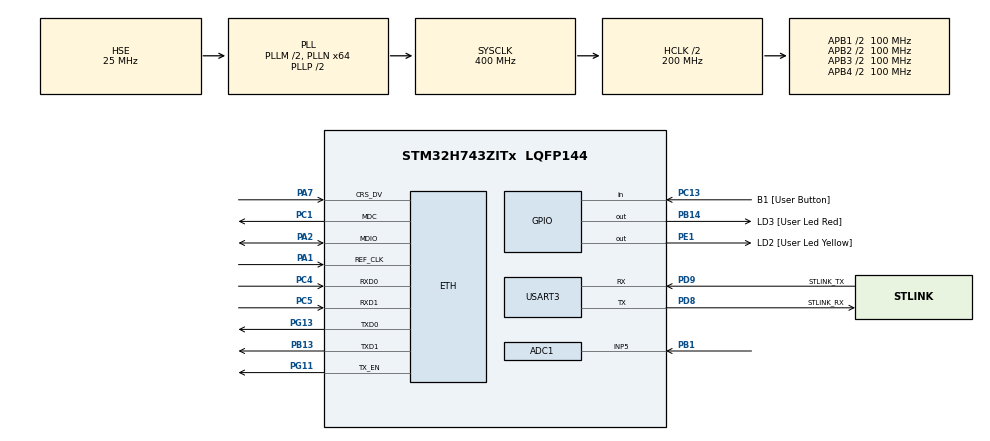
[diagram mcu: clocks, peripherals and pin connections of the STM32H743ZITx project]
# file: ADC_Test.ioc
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ADC1.AWD1HighThreshold=0xFFFF
ADC1.AWD2HighThreshold=0xFFFF
ADC1.AWDChannel-2\#ChannelRegularConversion=ADC_CHANNEL_5
ADC1.Channel-2\#ChannelRegularConversion=ADC_CHANNEL_5
ADC1.ClockPrescaler=ADC_CLOCK_ASYNC_DIV64
ADC1.ContinuousConvMode=DISABLE
ADC1.ConversionDataManagement=ADC_CONVERSIONDATA_DMA_CIRCULAR
ADC1.EOCSelection=ADC_EOC_SEQ_CONV
ADC1.EnableAnalogWatchDog1=true
ADC1.EnableAnalogWatchDog2=true
ADC1.ExternalTrigConv=ADC_EXTERNALTRIG_T3_TRGO
ADC1.MonitoredBy-2\#ChannelRegularConversion=ADC_ANALOGWATCHDOG_2
ADC1.NbrOfConversionFlag=1
ADC1.Offset-2\#ChannelRegularConversion=0x7fff
ADC1.OffsetNumber-2\#ChannelRegularConversion=ADC_OFFSET_1
ADC1.OffsetSignedSaturation-2\#ChannelRegularConversion=ENABLE
ADC1.Overrun=ADC_OVR_DATA_OVERWRITTEN
ADC1.Rank-2\#ChannelRegularConversion=1
ADC1.SamplingTime-2\#ChannelRegularConversion=ADC_SAMPLETIME_1CYCLE_5
ADC1.WDG2ChannelR1=ADC_CHANNEL_5
ADC1.WatchdogChannel=ADC_CHANNEL_5
ADC1.master=1
CORTEX_M7.AccessPermission_S-Cortex_Memory_Protection_Unit_Region1_Settings_S=MPU_REGION_FULL_ACCESS
CORTEX_M7.AccessPermission_S-Cortex_Memory_Protection_Unit_Region2_Settings_S=MPU_REGION_FULL_ACCESS
CORTEX_M7.AccessPermission_S-Cortex_Memory_Protection_Unit_Region3_Settings_S=MPU_REGION_FULL_ACCESS
CORTEX_M7.AccessPermission_Spec=MPU_REGION_NO_ACCESS
CORTEX_M7.BaseAddress_S-Cortex_Memory_Protection_Unit_Region1_Settings_S=0x30000000
CORTEX_M7.BaseAddress_S-Cortex_Memory_Protection_Unit_Region2_Settings_S=0x30020000
CORTEX_M7.BaseAddress_S-Cortex_Memory_Protection_Unit_Region3_Settings_S=0x30040000
CORTEX_M7.BaseAddress_Spec=0x30000000
CORTEX_M7.CPU_DCache=Enabled
CORTEX_M7.CPU_ICache=Enabled
CORTEX_M7.DisableExec_S-Cortex_Memory_Protection_Unit_Region2_Settings_S=MPU_INSTRUCTION_ACCESS_DISABLE
CORTEX_M7.DisableExec_S-Cortex_Memory_Protection_Unit_Region3_Settings_S=MPU_INSTRUCTION_ACCESS_DISABLE
CORTEX_M7.DisableExec_Spec=MPU_INSTRUCTION_ACCESS_DISABLE
CORTEX_M7.Enable_S-Cortex_Memory_Protection_Unit_Region1_Settings_S=MPU_REGION_ENABLE
CORTEX_M7.Enable_S-Cortex_Memory_Protection_Unit_Region2_Settings_S=MPU_REGION_ENABLE
CORTEX_M7.Enable_S-Cortex_Memory_Protection_Unit_Region3_Settings_S=MPU_REGION_ENABLE
CORTEX_M7.Enable_Spec=__NULL
CORTEX_M7.IsBufferable_S-Cortex_Memory_Protection_Unit_Region1_Settings_S=MPU_ACCESS_NOT_BUFFERABLE
CORTEX_M7.IsBufferable_S-Cortex_Memory_Protection_Unit_Region3_Settings_S=MPU_ACCESS_BUFFERABLE
CORTEX_M7.IsBufferable_Spec=MPU_ACCESS_NOT_BUFFERABLE
CORTEX_M7.IsShareable_S-Cortex_Memory_Protection_Unit_Region1_Settings_S=MPU_ACCESS_SHAREABLE
CORTEX_M7.IsShareable_S-Cortex_Memory_Protection_Unit_Region3_Settings_S=MPU_ACCESS_SHAREABLE
CORTEX_M7.IsShareable_Spec=MPU_ACCESS_SHAREABLE
CORTEX_M7.Size_S-Cortex_Memory_Protection_Unit_Region1_Settings_S=MPU_REGION_SIZE_128KB
CORTEX_M7.Size_S-Cortex_Memory_Protection_Unit_Region2_Settings_S=MPU_REGION_SIZE_128KB
CORTEX_M7.Size_S-Cortex_Memory_Protection_Unit_Region3_Settings_S=MPU_REGION_SIZE_512B
CORTEX_M7.Size_Spec=MPU_REGION_SIZE_4GB
CORTEX_M7.SubRegionDisable_Spec=0x00
CORTEX_M7.TypeExtField_S-Cortex_Memory_Protection_Unit_Region1_Settings_S=MPU_TEX_LEVEL1
CORTEX_M7.TypeExtField_S-Cortex_Memory_Protection_Unit_Region2_Settings_S=MPU_TEX_LEVEL1
CORTEX_M7.TypeExtField_Spec=MPU_TEX_LEVEL0
CORTEX_M7.default_mode_Activation=1
Dma.ADC1.0.Direction=DMA_PERIPH_TO_MEMORY
Dma.ADC1.0.EventEnable=DISABLE
Dma.ADC1.0.FIFOMode=DMA_FIFOMODE_DISABLE
Dma.ADC1.0.Instance=DMA1_Stream0
Dma.ADC1.0.MemDataAlignment=DMA_MDATAALIGN_HALFWORD
Dma.ADC1.0.MemInc=DMA_MINC_ENABLE
Dma.ADC1.0.Mode=DMA_CIRCULAR
Dma.ADC1.0.PeriphDataAlignment=DMA_PDATAALIGN_HALFWORD
Dma.ADC1.0.PeriphInc=DMA_PINC_DISABLE
Dma.ADC1.0.Polarity=HAL_DMAMUX_REQ_GEN_RISING
Dma.ADC1.0.Priority=DMA_PRIORITY_VERY_HIGH
Dma.ADC1.0.RequestNumber=1
Dma.ADC1.0.SignalID=NONE
Dma.ADC1.0.SyncEnable=DISABLE
Dma.ADC1.0.SyncPolarity=HAL_DMAMUX_SYNC_NO_EVENT
Dma.ADC1.0.SyncRequestNumber=1
Dma.ADC1.0.SyncSignalID=NONE
Dma.Request0=ADC1
ETH.MediaInterface=HAL_ETH_RMII_MODE
FREERTOS.BinarySemaphores01=xDataReadySemaphore,Dynamic,NULL,Depleted
FREERTOS.Tasks01=vCommandTask,24,512,StartDefaultTask,Default,NULL,Dynamic,NULL,NULL;vTransmitTask,40,1024,StartTask02,Default,NULL,Dynamic,NULL,NULL
LWIP.BSP.number=1
LWIP.IP_ADDRESS=192.168.001.005
LWIP.LWIP_DHCP=0
LWIP.LWIP_RAM_HEAP_POINTER=0x30020000
LWIP.MEM_SIZE=128000
LWIP.NETMASK_ADDRESS=255.255.255.000
LWIP.Version=v2.1.2_Cube
LWIP0.BSP.STBoard=false
LWIP0.BSP.api=BSP_COMPONENT_DRIVER
LWIP0.BSP.component=LAN8742
LWIP0.BSP.instance=LAN8742
LWIP0.BSP.name=Driver_PHY
LWIP0.BSP.semaphore=S_LAN8742
LWIP0.BSP.solution=LAN8742
Mcu.Family=STM32H7
Mcu.Name=STM32H743ZITx
Mcu.Package=LQFP144
NVIC.ADC_IRQn=true\:5\:0\:false\:false\:true\:true\:true\:true\:true
NVIC.DMA1_Stream0_IRQn=true\:5\:0\:false\:false\:true\:true\:false\:true\:true
NVIC.ETH_IRQn=true\:5\:0\:false\:false\:true\:true\:true\:true\:true
NVIC.PriorityGroup=NVIC_PRIORITYGROUP_4
NVIC.TIM4_IRQn=true\:5\:0\:false\:false\:true\:true\:true\:true\:true
NVIC.TIM6_DAC_IRQn=true\:15\:0\:false\:false\:true\:false\:false\:true\:true
NVIC.TimeBase=TIM6_DAC_IRQn
NVIC.TimeBaseIP=TIM6
PA1.GPIO_Speed=GPIO_SPEED_FREQ_VERY_HIGH
PA1.Mode=RMII
PA1.Signal=ETH_REF_CLK
PA13\ (JTMS/SWDIO).GPIO_Label=JTMS
PA13\ (JTMS/SWDIO).Signal=DEBUG_JTMS-SWDIO
PA14\ (JTCK/SWCLK).GPIO_Label=JTCK
PA14\ (JTCK/SWCLK).Signal=DEBUG_JTCK-SWCLK
PA2.GPIO_Speed=GPIO_SPEED_FREQ_VERY_HIGH
PA2.Mode=RMII
PA2.Signal=ETH_MDIO
PA7.GPIO_Speed=GPIO_SPEED_FREQ_VERY_HIGH
PA7.Mode=RMII
PA7.Signal=ETH_CRS_DV
PB1.Signal=ADCx_INP5
PB13.GPIO_Speed=GPIO_SPEED_FREQ_VERY_HIGH
PB13.Mode=RMII
PB13.Signal=ETH_TXD1
PB14.GPIO_Label=LD3 [User Led Red]
PB14.Signal=GPIO_Output
PC1.GPIO_Speed=GPIO_SPEED_FREQ_VERY_HIGH
PC1.Mode=RMII
PC1.Signal=ETH_MDC
PC13.GPIO_Label=B1 [User Button]
PC13.Signal=GPIO_Input
PC14-OSC32_IN\ (OSC32_IN).Signal=RCC_OSC32_IN
PC15-OSC32_OUT\ (OSC32_OUT).Signal=RCC_OSC32_OUT
PC4.GPIO_Speed=GPIO_SPEED_FREQ_VERY_HIGH
PC4.Mode=RMII
PC4.Signal=ETH_RXD0
PC5.GPIO_Speed=GPIO_SPEED_FREQ_VERY_HIGH
PC5.Mode=RMII
PC5.Signal=ETH_RXD1
PD8.GPIO_Label=STLINK_RX
PD8.Mode=Asynchronous
PD8.Signal=USART3_TX
PD9.GPIO_Label=STLINK_TX
PD9.Mode=Asynchronous
PD9.Signal=USART3_RX
PE1.GPIO_Label=LD2 [User Led Yellow]
PE1.Signal=GPIO_Output
PG11.GPIO_Speed=GPIO_SPEED_FREQ_VERY_HIGH
PG11.Mode=RMII
PG11.Signal=ETH_TX_EN
PG13.GPIO_Speed=GPIO_SPEED_FREQ_VERY_HIGH
PG13.Mode=RMII
PG13.Signal=ETH_TXD0
PH0-OSC_IN\ (PH0).Mode=HSE-External-Clock-Source
PH0-OSC_IN\ (PH0).Signal=RCC_OSC_IN
PH1-OSC_OUT\ (PH1).Signal=RCC_OSC_OUT
ProjectManager.HeapSize=0x200
ProjectManager.StackSize=0x400
ProjectManager.TargetToolchain=CMake
RCC.ADCFreq_Value=75000000
RCC.APB1Freq_Value=100000000
RCC.APB2Freq_Value=100000000
RCC.APB3Freq_Value=100000000
RCC.APB4Freq_Value=100000000
RCC.CortexFreq_Value=400000000
RCC.D1PPRE=RCC_APB3_DIV2
RCC.D2PPRE1=RCC_APB1_DIV2
RCC.D2PPRE2=RCC_APB2_DIV2
RCC.D3PPRE=RCC_APB4_DIV2
RCC.DIVM1=2
RCC.DIVM2=2
RCC.DIVM3=4
RCC.DIVN1=64
RCC.DIVN2=12
RCC.DIVN3=9
RCC.HCLKFreq_Value=200000000
RCC.HPRE=RCC_HCLK_DIV2
RCC.PLL2FRACN=0
RCC.PLL3FRACN=0
RCC.PLLFRACN=0
RCC.PLLSourceVirtual=RCC_PLLSOURCE_HSE
RCC.SYSCLKFreq_VALUE=400000000
RCC.SYSCLKSource=RCC_SYSCLKSOURCE_PLLCLK
RCC.USART234578CLockSelection=RCC_USART234578CLKSOURCE_CSI
RCC.USBFreq_Value=400000000
SH.ADCx_INP5.0=ADC1_INP5,IN5-Single-Ended
TIM3.Period=10
TIM3.TIM_MasterOutputTrigger=TIM_TRGO_UPDATE
TIM3.TIM_MasterSlaveMode=TIM_MASTERSLAVEMODE_ENABLE
TIM4.Period=1000
USART3.VirtualMode-Asynchronous=VM_ASYNC
VP_FREERTOS_VS_CMSIS_V2.Mode=CMSIS_V2
VP_LWIP_VS_Enabled.Mode=Enabled
VP_MEMORYMAP_VS_MEMORYMAP.Mode=CurAppReg
VP_SYS_VS_tim6.Mode=TIM6
VP_TIM3_VS_ClockSourceINT.Mode=Internal
VP_TIM4_VS_ClockSourceITR.Mode=TriggerSource_ITR2
VP_TIM4_VS_ControllerModeClock.Mode=Clock Mode
VP_TIM4_VS_OPM.Mode=OPM_bit
board=NUCLEO-H743ZI2

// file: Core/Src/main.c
/* USER CODE BEGIN Header */
/**
 ******************************************************************************
 * @file           : main.c
 * @brief          : Main program body
 ******************************************************************************
 * @attention
 *
 * Copyright (c) 2025 STMicroelectronics.
 * All rights reserved.
 *
 * This software is licensed under terms that can be found in the LICENSE file
 * in the root directory of this software component.
 * If no LICENSE file comes with this software, it is provided AS-IS.
 *
 ******************************************************************************
 */
/* USER CODE END Header */
#include "main.h"
#include "cmsis_os.h"
#include "adc.h"
#include "dma.h"
#include "lwip.h"
#include "tim.h"
#include "usart.h"
#include "gpio.h"

/* USER CODE BEGIN Includes */
#include "app_main.h"
/* USER CODE END Includes */

/* USER CODE BEGIN PTD */
extern osSemaphoreId_t xDataReadySemaphoreHandle;
/* USER CODE END PTD */

/* USER CODE BEGIN PD */
#define PUTCHAR_PROTOTYPE int __io_putchar(int ch)
#define GETCHAR_PROTOTYPE int __io_getchar(void)
/* USER CODE END PD */

void SystemClock_Config(void);
static void MPU_Config(void);
void MX_FREERTOS_Init(void);

int main(void)
{

  /* MPU Configuration--------------------------------------------------------*/
  MPU_Config();

  /* Enable the CPU Cache */

  /* Enable I-Cache---------------------------------------------------------*/
  SCB_EnableICache();

  /* Enable D-Cache---------------------------------------------------------*/
  SCB_EnableDCache();

  /* MCU Configuration--------------------------------------------------------*/

  /* Reset of all peripherals, Initializes the Flash interface and the Systick. */
  HAL_Init();

  /* Configure the system clock */
  SystemClock_Config();

  /* Initialize all configured peripherals */
  MX_GPIO_Init();
  MX_DMA_Init();
  MX_USART3_UART_Init();
  MX_ADC1_Init();
  MX_TIM3_Init();
  MX_TIM4_Init();
  /* USER CODE BEGIN 2 */
  App_Init();
  // setvbuf(stdin, NULL, _IONBF, 0); //disable buffering for input stream
  /* USER CODE END 2 */

  /* Init scheduler */
  osKernelInitialize();  /* Call init function for freertos objects (in cmsis_os2.c) */
  MX_FREERTOS_Init();

  /* Start scheduler */
  osKernelStart();

  /* We should never get here as control is now taken by the scheduler */

  /* Infinite loop */
  while (1)
  {

    /* USER CODE BEGIN 3 */

    //    printf("Waiting for valid command...\n");
  }

  /* USER CODE END 3 */
}

void SystemClock_Config(void)
{
  RCC_OscInitTypeDef RCC_OscInitStruct = {0};
  RCC_ClkInitTypeDef RCC_ClkInitStruct = {0};

  /** Supply configuration update enable
  */
  HAL_PWREx_ConfigSupply(PWR_LDO_SUPPLY);

  /** Configure the main internal regulator output voltage
  */
  __HAL_PWR_VOLTAGESCALING_CONFIG(PWR_REGULATOR_VOLTAGE_SCALE1);

  while(!__HAL_PWR_GET_FLAG(PWR_FLAG_VOSRDY)) {}

  /** Initializes the RCC Oscillators according to the specified parameters
  * in the RCC_OscInitTypeDef structure.
  */
  RCC_OscInitStruct.OscillatorType = RCC_OSCILLATORTYPE_CSI|RCC_OSCILLATORTYPE_HSE;
  RCC_OscInitStruct.HSEState = RCC_HSE_BYPASS;
  RCC_OscInitStruct.CSIState = RCC_CSI_ON;
  RCC_OscInitStruct.CSICalibrationValue = RCC_CSICALIBRATION_DEFAULT;
  RCC_OscInitStruct.PLL.PLLState = RCC_PLL_ON;
  RCC_OscInitStruct.PLL.PLLSource = RCC_PLLSOURCE_HSE;
  RCC_OscInitStruct.PLL.PLLM = 2;
  RCC_OscInitStruct.PLL.PLLN = 64;
  RCC_OscInitStruct.PLL.PLLP = 2;
  RCC_OscInitStruct.PLL.PLLQ = 2;
  RCC_OscInitStruct.PLL.PLLR = 2;
  RCC_OscInitStruct.PLL.PLLRGE = RCC_PLL1VCIRANGE_3;
  RCC_OscInitStruct.PLL.PLLVCOSEL = RCC_PLL1VCOWIDE;
  RCC_OscInitStruct.PLL.PLLFRACN = 0;
  if (HAL_RCC_OscConfig(&RCC_OscInitStruct) != HAL_OK)
  {
    Error_Handler();
  }

  /** Initializes the CPU, AHB and APB buses clocks
  */
  RCC_ClkInitStruct.ClockType = RCC_CLOCKTYPE_HCLK|RCC_CLOCKTYPE_SYSCLK
                              |RCC_CLOCKTYPE_PCLK1|RCC_CLOCKTYPE_PCLK2
                              |RCC_CLOCKTYPE_D3PCLK1|RCC_CLOCKTYPE_D1PCLK1;
  RCC_ClkInitStruct.SYSCLKSource = RCC_SYSCLKSOURCE_PLLCLK;
  RCC_ClkInitStruct.SYSCLKDivider = RCC_SYSCLK_DIV1;
  RCC_ClkInitStruct.AHBCLKDivider = RCC_HCLK_DIV2;
  RCC_ClkInitStruct.APB3CLKDivider = RCC_APB3_DIV2;
  RCC_ClkInitStruct.APB1CLKDivider = RCC_APB1_DIV2;
  RCC_ClkInitStruct.APB2CLKDivider = RCC_APB2_DIV2;
  RCC_ClkInitStruct.APB4CLKDivider = RCC_APB4_DIV2;

  if (HAL_RCC_ClockConfig(&RCC_ClkInitStruct, FLASH_LATENCY_2) != HAL_OK)
  {
    Error_Handler();
  }
}

/* USER CODE BEGIN 4 */
PUTCHAR_PROTOTYPE
{
  /* Place your implementation of fputc here */
  /* e.g. write a character to the USART1 and Loop until the end of transmission */
  HAL_UART_Transmit(&huart3, (uint8_t *)&ch, 1, 0xFFFF);

  return ch;
}

GETCHAR_PROTOTYPE
{
  uint8_t ch = 0;
  __HAL_UART_CLEAR_OREFLAG(&huart3);
  HAL_UART_Receive(&huart3, (uint8_t *)&ch, 1, HAL_MAX_DELAY);
  HAL_UART_Transmit(&huart3, (uint8_t *)&ch, 1, HAL_MAX_DELAY); // echo output for console
  return ch;
}

/* USER CODE END 4 */

 /* MPU Configuration */

void MPU_Config(void)
{
  MPU_Region_InitTypeDef MPU_InitStruct = {0};

  /* Disables the MPU */
  HAL_MPU_Disable();

  /** Initializes and configures the Region and the memory to be protected
  */
  MPU_InitStruct.Enable = MPU_REGION_ENABLE;
  MPU_InitStruct.BaseAddress = 0x30000000;
  MPU_InitStruct.Size = MPU_REGION_SIZE_128KB;
  MPU_InitStruct.SubRegionDisable = 0x0;
  MPU_InitStruct.TypeExtField = MPU_TEX_LEVEL1;
  MPU_InitStruct.AccessPermission = MPU_REGION_FULL_ACCESS;
  MPU_InitStruct.DisableExec = MPU_INSTRUCTION_ACCESS_ENABLE;
  MPU_InitStruct.IsShareable = MPU_ACCESS_SHAREABLE;
  MPU_InitStruct.IsCacheable = MPU_ACCESS_NOT_CACHEABLE;
  MPU_InitStruct.IsBufferable = MPU_ACCESS_NOT_BUFFERABLE;

  HAL_MPU_ConfigRegion(&MPU_InitStruct);

  /** Initializes and configures the Region and the memory to be protected
  */
  MPU_InitStruct.BaseAddress = 0x30020000;
  MPU_InitStruct.DisableExec = MPU_INSTRUCTION_ACCESS_DISABLE;
  MPU_InitStruct.IsShareable = MPU_ACCESS_NOT_SHAREABLE;

  HAL_MPU_ConfigRegion(&MPU_InitStruct);

  /** Initializes and configures the Region and the memory to be protected
  */
  MPU_InitStruct.BaseAddress = 0x30040000;
  MPU_InitStruct.Size = MPU_REGION_SIZE_512B;
  MPU_InitStruct.TypeExtField = MPU_TEX_LEVEL0;
  MPU_InitStruct.IsShareable = MPU_ACCESS_SHAREABLE;
  MPU_InitStruct.IsBufferable = MPU_ACCESS_BUFFERABLE;

  HAL_MPU_ConfigRegion(&MPU_InitStruct);
  /* Enables the MPU */
  HAL_MPU_Enable(MPU_PRIVILEGED_DEFAULT);

}

void HAL_TIM_PeriodElapsedCallback(TIM_HandleTypeDef *htim)
{
  if (htim->Instance == TIM6)
  {
    HAL_IncTick();
  }
  /* USER CODE BEGIN Callback 1 */
  if (htim->Instance == TIM4)
  {
      HAL_TIM_Base_Stop(&htim3);
      HAL_ADC_Stop_DMA(&hadc1);
      HAL_TIM_Base_Stop_IT(&htim4);

      // Wake up the Transmit Task!
      osSemaphoreRelease(xDataReadySemaphoreHandle);
  }
  /* USER CODE END Callback 1 */
}

void Error_Handler(void)
{
  __disable_irq();
  while (1)
  {
  }
}

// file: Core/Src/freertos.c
/* USER CODE BEGIN Header */
/**
  ******************************************************************************
  * File Name          : freertos.c
  * Description        : Code for freertos applications
  ******************************************************************************
  * @attention
  *
  * Copyright (c) 2026 STMicroelectronics.
  * All rights reserved.
  *
  * This software is licensed under terms that can be found in the LICENSE file
  * in the root directory of this software component.
  * If no LICENSE file comes with this software, it is provided AS-IS.
  *
  ******************************************************************************
  */
/* USER CODE END Header */

#include "FreeRTOS.h"
#include "task.h"
#include "main.h"
#include "cmsis_os.h"

/* USER CODE BEGIN Includes */
#include "app_main.h"
#include "adc_cntrl.h"
#include "communication.h"
#include "protocol.h"
#include "trigger_detection.h"
#include "tim.h"
#include "adc.h"
/* USER CODE END Includes */

/* Definitions for vCommandTask */
osThreadId_t vCommandTaskHandle;
const osThreadAttr_t vCommandTask_attributes = {
  .name = "vCommandTask",
  .stack_size = 512 * 4,
  .priority = (osPriority_t) osPriorityNormal,
};
/* Definitions for vTransmitTask */
osThreadId_t vTransmitTaskHandle;
const osThreadAttr_t vTransmitTask_attributes = {
  .name = "vTransmitTask",
  .stack_size = 1024 * 4,
  .priority = (osPriority_t) osPriorityHigh,
};
/* Definitions for xDataReadySemaphore */
osSemaphoreId_t xDataReadySemaphoreHandle;
const osSemaphoreAttr_t xDataReadySemaphore_attributes = {
  .name = "xDataReadySemaphore"
};

void StartDefaultTask(void *argument);
void StartTask02(void *argument);

extern void MX_LWIP_Init(void);
void MX_FREERTOS_Init(void); /* (MISRA C 2004 rule 8.1) */

void MX_FREERTOS_Init(void) {

  /* Create the semaphores(s) */
  /* creation of xDataReadySemaphore */
  xDataReadySemaphoreHandle = osSemaphoreNew(1, 0, &xDataReadySemaphore_attributes);

  /* Create the thread(s) */
  /* creation of vCommandTask */
  vCommandTaskHandle = osThreadNew(StartDefaultTask, NULL, &vCommandTask_attributes);

  /* creation of vTransmitTask */
  vTransmitTaskHandle = osThreadNew(StartTask02, NULL, &vTransmitTask_attributes);

}

void StartDefaultTask(void *argument)
{
  /* init code for LWIP */
  MX_LWIP_Init();
  /* USER CODE BEGIN StartDefaultTask */
  /* Infinite loop */
  for(;;)
  {
    // App_Loop();
    osDelay(1000);
  }
  /* USER CODE END StartDefaultTask */
}

void StartTask02(void *argument)
{
  /* USER CODE BEGIN StartTask02 */
  for(;;)
  {
    // Wait forever for Python to send 0x02
    osThreadFlagsWait(0x01, osFlagsWaitAny, osWaitForever);

    // Eat any stale semaphore tokens from previous runs
    while (osSemaphoreAcquire(xDataReadySemaphoreHandle, 0) == osOK) {}

    // Free-Run vs Triggered Capture
    if (trigger_params.type == TRIGGER_NONE)
    {
        // Free-Run: Kill watchdogs and instantly transmit
        __HAL_ADC_DISABLE_IT(&hadc1, ADC_IT_AWD1);
        __HAL_ADC_DISABLE_IT(&hadc1, ADC_IT_AWD2);
        tx_data();
    }
    else
    {
        // Triggered: Arm the hardware Watchdog
        __HAL_ADC_CLEAR_FLAG(&hadc1, ADC_FLAG_AWD1);
        __HAL_ADC_ENABLE_IT(&hadc1, ADC_IT_AWD1);

        // Wait up to 3000ms for the hardware to fire the semaphore
        osStatus_t status = osSemaphoreAcquire(xDataReadySemaphoreHandle, 3000);

        if (status == osOK)
        {
            // --- REAL TRIGGER ---
            uint32_t start_index = (com_params.trigger_index + TX_BUFFER_SIZE - trigger_params.pre_trigger_samples) % TX_BUFFER_SIZE;
            uint32_t elements_part1 = TX_BUFFER_SIZE - start_index;
            uint32_t elements_part2 = start_index;

            if (elements_part1 > 0) {
                HAL_UART_Transmit(&huart3, (uint8_t *)&tx_buf[start_index], (elements_part1 * sizeof(uint16_t)), 10000);
            }
            if (elements_part2 > 0) {
                HAL_UART_Transmit(&huart3, (uint8_t *)&tx_buf[0], (elements_part2 * sizeof(uint16_t)), 10000);
            }
        }
        else
        {
            // --- 3-SECOND TIMEOUT ---
            HAL_TIM_Base_Stop_IT(&htim4);
            __HAL_ADC_DISABLE_IT(&hadc1, ADC_IT_AWD1);
            __HAL_ADC_DISABLE_IT(&hadc1, ADC_IT_AWD2);
            tx_data();
        }
    }

    // Clear Overrun flag and restart hardware
    __HAL_ADC_CLEAR_FLAG(&hadc1, ADC_FLAG_OVR);
    HAL_ADC_Start_DMA(&hadc1, (uint32_t *)tx_buf, TX_BUFFER_SIZE);
    HAL_TIM_Base_Start(&htim3);
  }
  /* USER CODE END StartTask02 */
}
